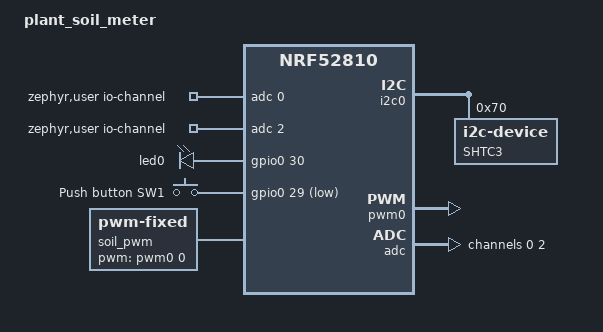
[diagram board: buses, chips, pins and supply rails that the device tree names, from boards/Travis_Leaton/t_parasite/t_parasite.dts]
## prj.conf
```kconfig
CONFIG_LOG=y
CONFIG_PWM=y
CONFIG_CBPRINTF_FP_SUPPORT=y
CONFIG_I2C=y
CONFIG_ADC=y
CONFIG_GPIO=y

# Bluetooth: broadcaster only (advertising is non-connectable)
CONFIG_BT=y
CONFIG_BT_DEVICE_NAME="prst"
CONFIG_BT_CTLR_TX_PWR_PLUS_4=y
CONFIG_BT_PERIPHERAL=n
CONFIG_BT_BROADCASTER=y

# Logging: straight to RTT, no queue and no log thread
CONFIG_SERIAL=n
CONFIG_USE_SEGGER_RTT=y
CONFIG_LOG_MODE_IMMEDIATE=y
CONFIG_SEGGER_RTT_BUFFER_SIZE_UP=512
CONFIG_MAIN_STACK_SIZE=1536

CONFIG_ASSERT=y

# Application config - see all options in Kconfig.
# CONFIG_PRST_BLE_ENCODING_BTHOME_V2=y
CONFIG_PRST_SLEEP_DURATION_MSEC=1000

# prstlib config - see all options in prstlib/Kconfig.
CONFIG_PRSTLIB_LOG_LEVEL_DBG=y
```

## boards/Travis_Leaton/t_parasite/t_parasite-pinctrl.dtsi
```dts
&pinctrl {
	/* PWM out: P0.11 */
	pwm0_default: pwm0_default {
		group1 {
			psels = <NRF_PSEL(PWM_OUT0, 0, 11)>;
			nordic,invert;
		};
	};

	pwm0_sleep: pwm0_sleep {
		group1 {
			psels = <NRF_PSEL(PWM_OUT0, 0, 11)>;
			low-power-enable;
		};
	};

	/* I2C: SDA = P0.18, SCL = P0.17 */
	i2c0_default: i2c0_default {
		group1 {
			psels = <NRF_PSEL(TWIM_SDA, 0, 18)>,
							<NRF_PSEL(TWIM_SCL, 0, 17)>;
		};
	};

	i2c0_sleep: i2c0_sleep {
		group1 {
			psels = <NRF_PSEL(TWIM_SDA, 0, 18)>,
							<NRF_PSEL(TWIM_SCL, 0, 17)>;
			low-power-enable;
		};
	};
};
```

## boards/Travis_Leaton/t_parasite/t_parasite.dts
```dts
/dts-v1/;

#include <nordic/nrf52810_qfaa.dtsi>
#include "t_parasite-pinctrl.dtsi"

/ {
	model = "plant_soil_meter";
	compatible = "Travis_Leaton,t-parasite";

	chosen {
		zephyr,sram = &sram0;
		zephyr,flash = &flash0;
		zephyr,code-partition = &slot0_partition;
	};

	zephyr,user {
		io-channels = <&adc 0>, <&adc 2>;
	};

	leds {
		compatible = "gpio-leds";
		led0: led_0 {
			// P0.30.
			gpios = <&gpio0 30 GPIO_ACTIVE_HIGH>;
		};
	};

	buttons {
		compatible = "gpio-keys";
		button0: button_0 {
			// P0.29.
			gpios = <&gpio0 29 (GPIO_PULL_UP | GPIO_ACTIVE_LOW)>;
			label = "Push button SW1";
		};
	};

	soil_pwm: soil_pwm {
		compatible = "pwm-fixed";
		pwms = <&pwm0 0 PWM_USEC(2) PWM_POLARITY_NORMAL>;
		pulse = <PWM_USEC(1)>;
	};

	soil_calibration_coeffs: soil_calibration_coeffs {
		compatible = "soil-calibration-coeffs";
		dry = <306000 101000 (-11700)>;
		wet = <19000 (-4980) 3420>;
	};


};

&uicr {
	gpio-as-nreset;
};

&gpiote {
	status = "okay";
};

&gpio0 {
	status = "okay";
	// For low-power EDGE interrupts.
	// See github.com/zephyrproject-rtos/zephyr/issues/28499.
	sense-edge-mask = <0xffffffff>;
};

&i2c0 {
	compatible = "nordic,nrf-twi";
	status = "okay";
	pinctrl-0 = <&i2c0_default>;
	pinctrl-1 = <&i2c0_sleep>;
	pinctrl-names = "default", "sleep";

	shtc3: shtc3@70 {
		compatible = "i2c-device";
		reg = <0x70>;
		label = "SHTC3";
	};
};

&pwm0 {
	status = "okay";
	pinctrl-0 = <&pwm0_default>;
	pinctrl-1 = <&pwm0_sleep>;
	pinctrl-names = "default", "sleep";
};

&adc {
	#address-cells = <1>;
	#size-cells = <0>;
	status = "okay";

	// Soil.
	channel@0 {
		reg = <0>;
		zephyr,gain = "ADC_GAIN_1_6";
		zephyr,reference = "ADC_REF_VDD_1_4";
		zephyr,acquisition-time = <ADC_ACQ_TIME_DEFAULT>;
		// P0.03.
		zephyr,input-positive = <NRF_SAADC_AIN1>;
		zephyr,resolution = <10>;

	};

	// Battery.
	channel@2 {
		reg = <2>;
		zephyr,gain = "ADC_GAIN_1_6";
		zephyr,reference = "ADC_REF_INTERNAL";
		zephyr,acquisition-time = <ADC_ACQ_TIME_DEFAULT>;
		zephyr,input-positive = <NRF_SAADC_VDD>;
		zephyr,resolution = <10>;
	};
};

// &reg {
// 	regulator-initial-mode = <NRF5X_REG_MODE_DCDC>;
// };

&flash0 {
	partitions {
		compatible = "fixed-partitions";
		#address-cells = <1>;
		#size-cells = <1>;

		slot0_partition: partition@0 {
			label = "image-0";
			reg = <0x00000000 0x2A000>;
		};
		storage_partition: partition@2a000 {
			label = "storage";
			reg = <0x0002A000 0x00006000>;
		};
	};
};
```

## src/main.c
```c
#include <prstlib/adc.h>
#include <prstlib/button.h>
#include <prstlib/led.h>
#include <prstlib/macros.h>
#include <prstlib/sensors.h>
#include <prstlib/shtc3.h>
#include <zephyr/kernel.h>
#include <zephyr/logging/log.h>
#include <zephyr/pm/device.h>
#include <zephyr/pm/pm.h>
#include <zephyr/pm/policy.h>

#include "ble.h"

LOG_MODULE_REGISTER(main, LOG_LEVEL_DBG);

static int prst_init() {
  RET_IF_ERR(prst_adc_init());
  RET_IF_ERR(prst_led_init());
  RET_IF_ERR(prst_button_init());
  RET_IF_ERR(prst_ble_init());
  return 0;
}

static void dump_config() {
#if IS_ENABLED(CONFIG_PRST_BLE_ENCODING_BTHOME_V2)
  LOG_INF("Payload encoding: BTHOME_V2");
#elif IS_ENABLED(CONFIG_PRST_BLE_ENCODING_BTHOME_V1)
  LOG_INF("Payload encoding: BTHOME_V1");
#elif IS_ENABLED(CONFIG_PRST_BLE_ENCODING_BPARASITE_V2)
  LOG_INF("Payload encoding: BPARASITE_V2");
#else
#error "Unhandled CONFIG_PRST_BLE_ENCODING_ choice in dump_config()"
#endif

  LOG_INF("Sleep duration: %d ms", CONFIG_PRST_SLEEP_DURATION_MSEC);
}

static int prst_loop(prst_sensors_t *sensors) {
  RET_IF_ERR(prst_sensors_read_all(sensors));
  RET_IF_ERR(prst_ble_adv_set_data(sensors));
  RET_IF_ERR(prst_ble_adv_start());
  k_msleep(CONFIG_PRST_BLE_ADV_DURATION_MSEC);
  RET_IF_ERR(prst_ble_adv_stop());
  return 0;
}

int main(void) {
  prst_led_init();
  prst_led_flash(1);          // 1 flash: main() was reached

  int err = prst_init();
  if (err) {
    LOG_ERR("prst_init() failed: %d", err);
    return err;
  }
  prst_led_flash(2);          // 2 flashes: all init steps passed

  dump_config();

  prst_sensors_t sensors;
  while (true) {
    err = prst_loop(&sensors);
    if (err) {
      LOG_ERR("prst_loop() failed: %d", err);
    }
    prst_led_flash(1);        // 1 flash every cycle: the loop is alive
    k_msleep(CONFIG_PRST_SLEEP_DURATION_MSEC);
  }
}
```
